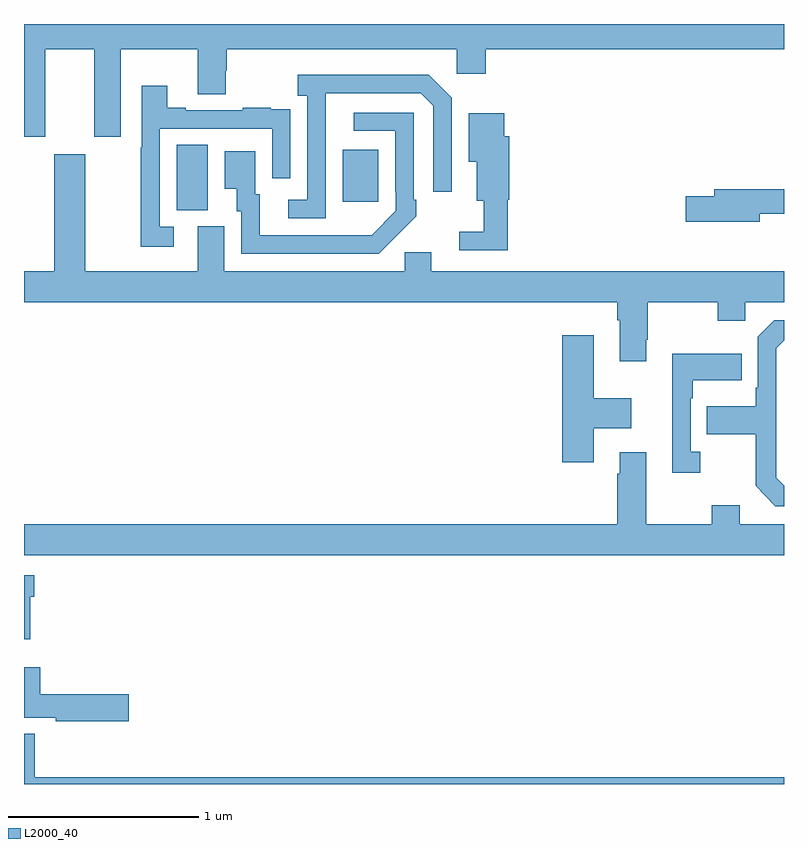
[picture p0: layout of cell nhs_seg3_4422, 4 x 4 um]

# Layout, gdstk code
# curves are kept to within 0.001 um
import gdstk
lib = gdstk.Library(unit=1e-6, precision=1e-09)
def R(c, l, rs):  # rectangles x0, y0, x1, y1
    for r in rs: c.add(gdstk.rectangle(r[:2], r[2:], *l))
def P(c, l, *ps):  # polygons
    for p in ps: c.add(gdstk.Polygon(p, *l))
L2000_40 = (2000, 40)

nhs_seg3_4422 = lib.new_cell('nhs_seg3_4422')
R(nhs_seg3_4422, L2000_40, [(347.804,681.421,347.968,681.764), (348.677,681.465,348.865,681.739)])
P(nhs_seg3_4422, L2000_40, [(347.113,682.268),(347.369,682.268),(347.369,681.807),(347.509,681.807),(347.509,682.268),(347.915,682.268),(347.915,682.03),(348.063,682.03),(348.063,682.155),(348.068,682.155),(348.068,682.268),(349.278,682.268),(349.278,682.137),(349.43,682.137),(349.43,682.268),(351,682.268),(351,682.4),(347,682.4),(347,681.807),(347.113,681.807)],
  [(348.588,681.835),(348.589,682.035),(349.089,682.035),(349.155,681.969),(349.155,681.516),(349.251,681.516),(349.251,682.011),(349.13,682.132),(348.441,682.132),(348.441,682.022),(348.492,682.022),(348.492,681.474),(348.39,681.474),(348.39,681.378),(348.588,681.378)],
  [(347.788,681.333),(347.715,681.333),(347.715,681.849),(348.306,681.849),(348.306,681.588),(348.402,681.588),(348.402,681.842),(348.401,681.842),(348.401,681.951),(348.299,681.951),(348.299,681.958),(348.151,681.958),(348.151,681.945),(347.851,681.945),(347.851,681.958),(347.755,681.958),(347.755,682.075),(347.619,682.075),(347.619,681.752),(347.614,681.752),(347.614,681.228),(347.788,681.228)],
  [(348.959,681.283),(348.96,681.282),(349.065,681.387),(349.065,681.475),(349.05,681.475),(349.05,681.933),(348.735,681.933),(348.735,681.837),(348.954,681.837),(348.954,681.517),(348.957,681.517),(348.957,681.417),(348.829,681.289),(348.241,681.288),(348.241,681.504),(348.217,681.504),(348.217,681.73),(348.056,681.73),(348.056,681.533),(348.119,681.533),(348.119,681.414),(348.144,681.414),(348.144,681.192),(348.868,681.192)],
  [(349.547,681.474),(349.553,681.474),(349.553,681.81),(349.528,681.81),(349.528,681.931),(349.34,681.931),(349.34,681.674),(349.382,681.674),(349.382,681.47),(349.419,681.47),(349.419,681.307),(349.29,681.307),(349.29,681.21),(349.547,681.21)],
  [(350.275,680.737),(350.283,680.737),(350.283,680.936),(350.65,680.936),(350.65,680.837),(350.796,680.837),(350.796,680.936),(351,680.936),(351,681.1),(349.144,681.1),(349.144,681.198),(349.005,681.198),(349.005,681.1),(348.055,681.1),(348.055,681.336),(347.915,681.336),(347.915,681.1),(347.323,681.1),(347.323,681.715),(347.159,681.715),(347.159,681.1),(347,681.1),(347,680.936),(350.123,680.936),(350.123,680.84),(350.135,680.84),(350.135,680.625),(350.275,680.625)],
  [(350.872,681.402),(351,681.402),(351,681.53),(350.633,681.53),(350.633,681.494),(350.484,681.494),(350.484,681.359),(350.872,681.359)],
  [(351,679.971),(350.958,680.013),(350.958,680.694),(351,680.736),(351,680.841),(350.949,680.841),(350.862,680.754),(350.862,680.485),(350.85,680.485),(350.85,680.389),(350.593,680.389),(350.593,680.242),(350.85,680.242),(350.85,679.969),(350.955,679.863),(351,679.863)],
  [(349.999,680.273),(350.197,680.273),(350.197,680.431),(349.999,680.431),(349.999,680.761),(349.832,680.761),(349.832,680.094),(349.999,680.094)],
  [(350.56,680.15),(350.508,680.15),(350.508,680.429),(350.521,680.429),(350.521,680.525),(350.777,680.525),(350.777,680.665),(350.411,680.665),(350.411,680.037),(350.56,680.037)],
  [(351,679.768),(350.767,679.768),(350.767,679.867),(350.62,679.867),(350.62,679.768),(350.275,679.768),(350.275,680.146),(350.135,680.146),(350.135,680.033),(350.123,680.033),(350.123,679.768),(347,679.768),(347,679.604),(351,679.604)],
  [(347.034,679.385),(347.054,679.385),(347.054,679.498),(347,679.498),(347,679.163),(347.034,679.163)],
  [(347.551,678.872),(347.086,678.872),(347.086,679.015),(347,679.015),(347,678.749),(347.166,678.749),(347.166,678.73),(347.551,678.73)],
  [(351,678.436),(347.057,678.436),(347.057,678.664),(347,678.664),(347,678.4),(351,678.4)])

lib.write_gds('nhs_seg3_4422.gds')
